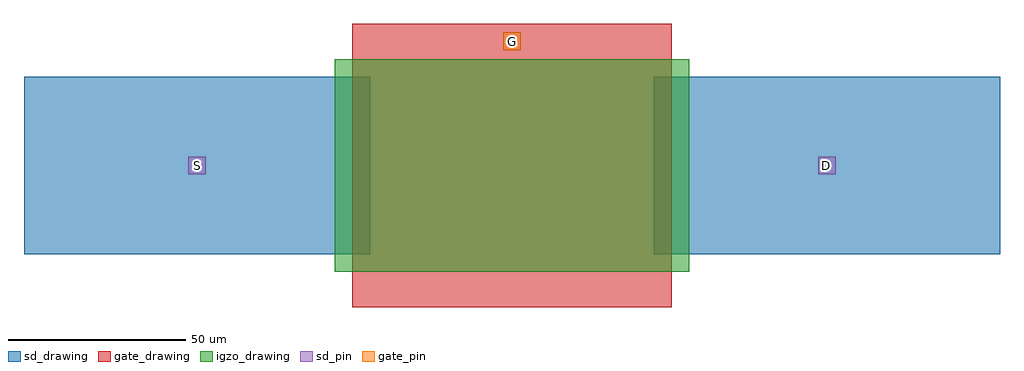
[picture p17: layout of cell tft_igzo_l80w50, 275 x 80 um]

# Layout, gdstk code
import gdstk
lib = gdstk.Library(unit=1e-6, precision=1e-09)
def R(c, l, rs):  # rectangles x0, y0, x1, y1
    for r in rs: c.add(gdstk.rectangle(r[:2], r[2:], *l))
gate_drawing = (2, 0)
gate_pin = (2, 10)
igzo_drawing = (4, 0)
sd_drawing = (6, 0)
sd_pin = (6, 10)

tft_igzo_l80w50 = lib.new_cell('tft_igzo_l80w50')
R(tft_igzo_l80w50, gate_drawing, [(-45,-40,45,40)])
R(tft_igzo_l80w50, gate_pin, [(-2.5,32.5,2.5,37.5)])
R(tft_igzo_l80w50, igzo_drawing, [(-50,-30,50,30)])
R(tft_igzo_l80w50, sd_drawing, [(-137.5,-25,-40,25), (40,-25,137.5,25)])
R(tft_igzo_l80w50, sd_pin, [(-91.25,-2.5,-86.25,2.5), (86.25,-2.5,91.25,2.5)])
tft_igzo_l80w50.add(gdstk.Label('S', (-88.75,0), layer=6, texttype=10))
tft_igzo_l80w50.add(gdstk.Label('D', (88.75,0), layer=6, texttype=10))
tft_igzo_l80w50.add(gdstk.Label('G', (0,35), layer=2, texttype=10))

lib.write_gds('tft_igzo_l80w50.gds')
